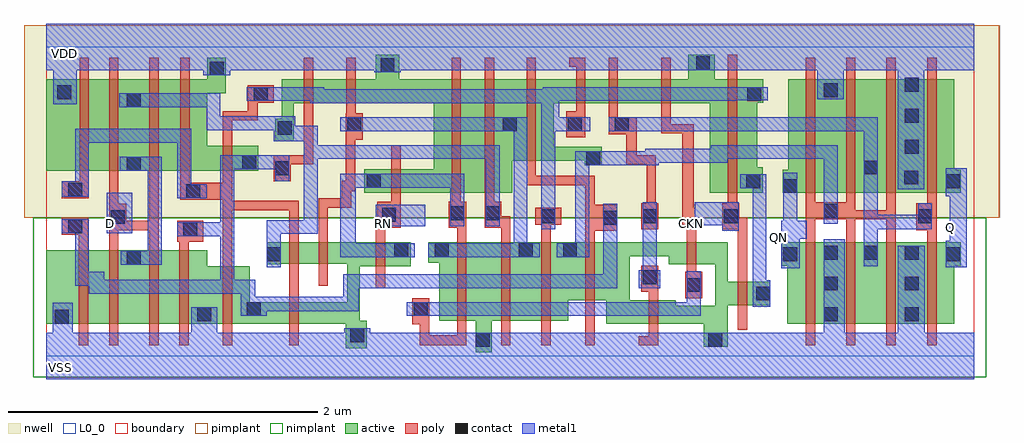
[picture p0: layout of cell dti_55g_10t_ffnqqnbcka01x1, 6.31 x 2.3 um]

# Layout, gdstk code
from math import pi, radians
import gdstk
lib = gdstk.Library(unit=1e-6, precision=1e-09)
def R(c, l, rs):  # rectangles x0, y0, x1, y1
    for r in rs: c.add(gdstk.rectangle(r[:2], r[2:], *l))
def A(c, l, x, y, w, h, nx, ny, dx, dy):  # array of equal rectangles
    R(c, l, [(x+i*dx, y+j*dy, x+i*dx+w, y+j*dy+h) for i in range(nx) for j in range(ny)])
def P(c, l, *ps):  # polygons
    for p in ps: c.add(gdstk.Polygon(p, *l))
L0_0 = (0, 0)
nwell = (3, 0)
active = (6, 0)
poly = (17, 0)
pimplant = (25, 0)
nimplant = (26, 0)
contact = (30, 0)
metal1 = (31, 0)
boundary = (108, 0)
L923_0 = (923, 0)

cnt = lib.new_cell('cnt')
R(cnt, contact, [(-0.045,-0.045,0.045,0.045)])
R(cnt, metal1, [(-0.045,-0.045,0.045,0.045)])

cellgrid_nom2 = lib.new_cell('cellgrid_noM2')
R(cellgrid_nom2, L0_0, [(0,0,0.2,0.2)])
cellgrid_nom2.add(gdstk.FlexPath([(0.2,0),(0,0.2)], 0, ends="flush", simple_path=True, layer=0, datatype=0))  # L0_0
cellgrid_nom2.add(gdstk.FlexPath([(0.2,0.2),(0,0)], 0, ends="flush", simple_path=True, layer=0, datatype=0))  # L0_0

pcnt_v = lib.new_cell('pcnt_v')
R(pcnt_v, poly, [(-0.055,-0.085,0.055,0.085)])
P(pcnt_v, poly, [(0.005,0.04),(0.005,0.04),(0.005,0.04),(0.005,0.04)])
pcnt_v.add(gdstk.Reference(cnt, (0,0)))

dti_55g_10t_ffnqqnbcka01 = lib.new_cell('dti_55g_10t_ffnqqnbcka01x1')
R(dti_55g_10t_ffnqqnbcka01, nwell, [(-2.2,1.015,4.11,2.26)])
R(dti_55g_10t_ffnqqnbcka01, active, [(1.32,0.48,1.565,0.56), (2.7,0.705,2.825,0.855), (2.705,1.175,2.825,1.325), (2.74,1.175,3.815,1.91), (3.735,1.175,3.855,1.325), (2.455,1.19,2.575,1.34), (1.425,1.355,1.535,1.475), (-0.575,1.51,-0.455,1.655), (0.86,1.545,1.01,1.665), (0.075,1.91,0.225,2.07)])
P(dti_55g_10t_ffnqqnbcka01, active, [(-0.12,0.17),(-0.12,0.33),(-2.055,0.33),(-2.055,0.805),(-1.015,0.805),(-1.015,0.7),(-0.74,0.7),(-0.74,0.47),(-0.11,0.47),(-0.11,0.715),(-0.545,0.715),(-0.545,0.715),(-0.63,0.715),(-0.63,0.855),(0.3,0.855),(0.3,0.7),(-0.03,0.7),(-0.03,0.35),(0.015,0.35),(0.015,0.17)],
  [(0,1.175),(0,1.33),(0.45,1.33),(0.45,1.332),(0.955,1.332),(0.955,1.175)],
  [(2.235,1.175),(2.235,1.755),(1.225,1.755),(1.225,1.475),(1.535,1.475),(1.535,1.385),(1.37,1.385),(1.37,1.385),(0.955,1.385),(0.955,1.307),(0.45,1.307),(0.45,1.755),(-0.455,1.755),(-0.455,1.63),(-0.535,1.63),(-0.535,1.91),(0.075,1.91),(0.075,1.95),(0.225,1.95),(0.225,1.91),(2.095,1.91),(2.095,2.07),(2.265,2.07),(2.265,1.91),(2.58,1.91),(2.58,1.76),(2.54,1.76),(2.54,1.195),(2.575,1.195),(2.575,1.175)],
  [(0.72,0.145),(0.72,0.35),(0.485,0.35),(0.485,0.725),(0.415,0.725),(0.415,0.765),(1.715,0.765),(1.715,0.48),(2.015,0.48),(2.015,0.445),(2.27,0.445),(2.27,0.715),(1.97,0.715),(1.97,0.765),(0.415,0.765),(0.415,0.855),(2.35,0.855),(2.35,0.6),(2.625,0.6),(2.625,0.45),(2.35,0.45),(2.35,0.18),(2.195,0.18),(2.195,0.33),(1.565,0.33),(1.565,0.56),(1.32,0.56),(1.32,0.35),(0.825,0.35),(0.825,0.145)],
  [(-2.055,1.32),(-2.055,1.91),(-1.015,1.91),(-1.015,2.05),(-0.895,2.05),(-0.895,1.82),(-1.015,1.82),(-1.015,1.48),(-0.685,1.48),(-0.685,1.32)],
  [(2.735,0.33),(2.735,0.855),(3.855,0.855),(3.855,0.705),(3.815,0.705),(3.815,0.33)],
  [(-1.915,0.405),(-1.915,0.405),(-1.915,0.405),(-1.915,0.405)])
A(dti_55g_10t_ffnqqnbcka01, poly, 2.855, 1.025, 0.06, 1.025, 3, 1, 0.26, 0)
R(dti_55g_10t_ffnqqnbcka01, poly, [(-1.845,0.19,-1.785,1.005), (-1.65,0.19,-1.59,1.005), (-1.39,0.19,-1.33,1.005), (-0.915,0.19,-0.855,0.67), (-0.485,0.19,-0.425,0.6), (0.885,0.19,0.945,1.025), (1.145,0.19,1.205,1.025), (1.43,0.19,1.49,0.4), (1.775,0.19,1.885,0.25), (1.84,0.19,1.9,0.6), (2.855,0.19,2.915,1.03), (3.115,0.19,3.175,1.025), (3.375,0.19,3.435,1.03), (3.64,0.19,3.7,1.03), (2.415,0.29,2.475,0.725), (0.31,0.325,0.42,0.495), (1.43,0.4,1.49,1), (2.075,0.495,2.185,0.665), (1.79,0.535,1.9,0.705), (0.075,0.56,0.135,0.995), (-0.485,0.575,-0.425,0.985), (-0.295,0.575,-0.235,0.985), (2.415,0.71,2.475,1.015), (-1.955,0.905,-1.785,1.015), (1.47,0.93,1.635,1.1), (-1.65,0.935,-1.54,1.105), (-1.575,0.935,-1.33,0.995), (3.57,0.935,3.68,1.11), (1.79,0.94,1.9,1.11), (2.315,0.94,2.425,1.11), (0.085,0.95,0.235,1.12), (0.105,0.95,0.215,1.12), (0.78,0.95,0.945,1.025), (0.78,0.95,0.885,1.12), (-1.39,0.965,-1.33,1.175), (-0.485,0.97,-0.425,1.125), (1.43,0.995,1.49,1.24), (2.91,1.005,2.95,1.115), (2.93,1.005,3.1,1.115), (3.09,1.005,3.13,1.115), (3.16,1.005,3.4,1.065), (2.35,1.025,2.41,1.46), (3.64,1.025,3.7,2.05), (0.565,1.03,0.625,1.465), (0.78,1.03,0.84,1.465), (0.175,1.065,0.235,1.485), (1.825,1.085,1.885,1.42), (-1.65,1.09,-1.59,1.17), (-1.955,1.14,-1.78,1.25), (-1.84,1.15,-1.78,2.05), (-1.65,1.15,-1.59,2.05), (-1.39,1.15,-1.33,2.05), (-1.19,1.15,-1.13,2.05), (0.565,1.155,0.625,2.05), (0.78,1.155,0.84,2.05), (2.35,1.155,2.41,2.07), (1.695,1.36,1.76,1.665), (1.695,1.36,1.76,1.665), (1.73,1.36,1.86,1.42), (-0.12,1.52,-0.01,1.69), (1.305,1.535,1.415,1.705), (1.4,1.535,1.43,1.635), (1.58,1.555,1.75,1.665), (1.92,1.56,2.095,1.62), (-0.915,1.575,-0.855,1.705), (-0.39,1.605,-0.33,2.05), (-0.115,1.605,-0.055,2.05), (1.37,1.605,1.43,2.05), (1.58,1.605,1.64,2.05), (1.92,1.605,1.98,2.05), (-0.915,1.645,-0.695,1.705), (-0.755,1.645,-0.69,1.795), (-0.755,1.76,-0.585,1.87), (1.325,1.99,1.38,2.05)])
P(dti_55g_10t_ffnqqnbcka01, poly, [(-0.915,0.35),(-0.915,0.79),(-0.915,0.79),(-0.915,1.13),(-1.19,1.13),(-1.19,1.24),(-0.915,1.24),(-0.915,1.585),(-0.855,1.585),(-0.855,1.125),(-0.435,1.125),(-0.435,1.065),(-0.855,1.065),(-0.855,0.35)],
  [(1.05,1.225),(1.05,2.05),(1.11,2.05),(1.11,1.285),(1.49,1.285),(1.49,1.225),(1.11,1.225)],
  [(0.6,0.19),(0.6,0.95),(0.545,0.95),(0.545,1.12),(0.66,1.12),(0.66,0.19)],
  [(-1.195,0.19),(-1.195,0.86),(-1.21,0.86),(-1.21,0.995),(-1.04,0.995),(-1.04,0.86),(-1.135,0.86),(-1.135,0.19)],
  [(0.36,0.19),(0.36,0.325),(0.42,0.325),(0.42,0.255),(0.61,0.255),(0.61,0.19)],
  [(-0.295,0.95),(-0.295,1.14),(-0.145,1.14),(-0.145,1.255),(-0.12,1.255),(-0.12,1.52),(-0.06,1.52),(-0.06,1.185),(-0.085,1.185),(-0.085,1.08),(-0.235,1.08),(-0.235,0.95)],
  [(-0.585,1.25),(-0.585,1.42),(-0.39,1.42),(-0.39,1.63),(-0.33,1.63),(-0.33,1.36),(-0.475,1.36),(-0.475,1.25)],
  [(2.085,0.575),(2.085,0.97),(2.055,0.97),(2.055,1.62),(2.13,1.62),(2.13,1.075),(2.14,1.075),(2.14,1),(2.145,1),(2.145,0.575)],
  [(1.365,1.66),(1.365,1.66),(1.365,1.66),(1.365,1.66)],
  [(1.625,1.615),(1.625,1.615),(1.625,1.615),(1.625,1.615)],
  [(-1.91,1.2),(-1.91,1.2),(-1.91,1.2),(-1.91,1.2)],
  [(-1.145,1.19),(-1.145,1.19),(-1.145,1.19),(-1.145,1.19)],
  [(-0.71,1.83),(-0.71,1.83),(-0.71,1.83),(-0.71,1.83)],
  [(-0.06,1.645),(-0.06,1.645),(-0.06,1.645),(-0.06,1.645)],
  [(-1.83,0.94),(-1.83,0.94),(-1.83,0.94),(-1.83,0.94)],
  [(-1.91,0.965),(-1.91,0.965),(-1.91,0.965),(-1.91,0.965)],
  [(0.165,1.075),(0.165,1.075),(0.165,1.075),(0.165,1.075)],
  [(0.38,0.44),(0.38,0.44),(0.38,0.44),(0.38,0.44)],
  [(0.615,1.075),(0.615,1.075),(0.615,1.075),(0.615,1.075)],
  [(0.835,1.075),(0.835,1.075),(0.835,1.075),(0.835,1.075)],
  [(1.15,1.03),(1.15,1.03),(1.15,1.03),(1.15,1.03)],
  [(1.54,1.055),(1.54,1.055),(1.54,1.055),(1.54,1.055)],
  [(1.84,0.66),(1.84,0.66),(1.84,0.66),(1.84,0.66)],
  [(1.835,1.065),(1.835,1.065),(1.835,1.065),(1.835,1.065)],
  [(2.375,1.065),(2.375,1.065),(2.375,1.065),(2.375,1.065)],
  [(2.975,1.065),(2.975,1.065),(2.975,1.065),(2.975,1.065)],
  [(3.63,1.06),(3.63,1.06),(3.63,1.06),(3.63,1.06)],
  [(2.07,0.62),(2.07,0.62),(2.07,0.62),(2.07,0.62)])
R(dti_55g_10t_ffnqqnbcka01, pimplant, [(-2.2,1.015,4.105,2.26)])
R(dti_55g_10t_ffnqqnbcka01, nimplant, [(-2.14,-0.015,4.02,1.015), (2.17,0.295,2.72,0.73), (-1.18,0.33,-0.63,0.865), (-0.74,0.555,-0.19,0.99), (-0.55,0.555,0,0.99), (-0.16,0.555,0.39,0.99), (1.84,0.555,2.39,0.99), (1.19,0.57,1.74,1.005)])
A(dti_55g_10t_ffnqqnbcka01, contact, 2.97, 0.345, 0.09, 0.09, 1, 3, 0, 0.2)
A(dti_55g_10t_ffnqqnbcka01, contact, 3.495, 0.345, 0.09, 0.09, 1, 3, 0, 0.2)
A(dti_55g_10t_ffnqqnbcka01, contact, 3.495, 1.43, 0.09, 0.09, 1, 3, 0, 0.2)
R(dti_55g_10t_ffnqqnbcka01, contact, [(0.72,0.18,0.81,0.27), (2.225,0.18,2.315,0.27), (-0.09,0.21,0,0.3), (-2,0.33,-1.91,0.42), (-1.08,0.345,-0.99,0.435), (-0.76,0.38,-0.67,0.47), (2.535,0.48,2.625,0.57), (-1.535,0.71,-1.445,0.8), (-0.63,0.735,-0.54,0.825), (2.71,0.735,2.8,0.825), (3.76,0.735,3.85,0.825), (3.23,0.745,3.32,0.835), (0.195,0.76,0.285,0.85), (0.455,0.76,0.545,0.85), (1,0.76,1.09,0.85), (1.285,0.76,1.375,0.85), (-1.17,0.895,-1.08,0.985), (-1.915,0.915,-1.825,1.005), (2.71,1.175,2.8,1.265), (2.47,1.205,2.56,1.295), (3.76,1.205,3.85,1.295), (0.015,1.21,0.105,1.3), (3.49,1.23,3.58,1.32), (3.23,1.295,3.32,1.385), (-1.535,1.32,-1.445,1.41), (-0.79,1.33,-0.7,1.42), (1.435,1.355,1.525,1.445), (-0.56,1.55,-0.47,1.64), (0.895,1.575,0.985,1.665), (-1.535,1.73,-1.445,1.82), (2.475,1.77,2.565,1.86), (-1.985,1.78,-1.895,1.87), (2.97,1.795,3.06,1.885), (-1,1.935,-0.91,2.025), (0.105,1.955,0.195,2.045), (2.145,1.97,2.235,2.06)])
A(dti_55g_10t_ffnqqnbcka01, metal1, -2.055, -0.03, 0.2, 0.3, 30, 2, 0.2, 2)
R(dti_55g_10t_ffnqqnbcka01, metal1, [(-1.12,0.11,-0.95,0.435), (0.68,0.11,0.86,0.27), (2.97,0.11,3.105,0.875), (3.45,0.11,3.625,0.835), (-2.015,0.115,-1.885,0.465), (-0.13,0.115,0.04,0.3), (-0.09,0.21,0,0.3), (2.97,0.375,3.06,0.465), (3.495,0.375,3.585,0.465), (2.535,0.48,2.625,0.57), (1.775,0.56,1.915,0.675), (1.8,0.675,1.89,1.115), (-0.63,0.735,-0.56,0.825), (3.76,0.735,3.84,0.825), (2.97,0.745,3.06,0.835), (3.23,0.745,3.32,0.835), (3.495,0.745,3.585,0.835), (1,0.76,1.09,0.83), (1.275,0.76,1.365,0.835), (-1.17,0.895,-1.08,0.985), (-1.915,0.915,-1.825,1.005), (-1.665,0.915,-1.5,1.175), (0.075,0.96,0.395,1.1), (3.45,1.2,3.62,2.11), (3.49,1.2,3.58,1.29), (3.76,1.205,3.84,1.295), (0.015,1.21,0.105,1.3), (3.23,1.295,3.32,1.385), (-1.53,1.32,-1.44,1.41), (-0.79,1.33,-0.7,1.42), (3.495,1.395,3.585,1.485), (-0.56,1.535,-0.47,1.625), (3.495,1.59,3.585,1.68), (-2.01,1.75,-1.86,2.105), (-1.99,1.78,-1.9,1.87), (2.93,1.78,3.1,2.105), (2.97,1.795,3.06,1.885), (3.495,1.8,3.585,1.89), (-1.04,1.935,-0.865,2.105), (-1,1.935,-0.91,1.995), (0.065,1.955,0.235,2.11), (2.1,1.97,2.285,2.11), (2.145,1.97,2.235,2.045)])
P(dti_55g_10t_ffnqqnbcka01, metal1, [(-0.63,0.695),(-0.63,1),(-0.39,1),(-0.39,1.51),(-0.585,1.51),(-0.585,1.58),(-1.02,1.58),(-1.02,1.73),(-1.585,1.73),(-1.585,1.82),(-0.93,1.82),(-0.93,1.67),(-0.445,1.67),(-0.445,1.61),(-0.3,1.61),(-0.3,1.485),(0.875,1.485),(0.875,0.96),(0.785,0.96),(0.785,1.395),(-0.3,1.395),(-0.3,0.91),(-0.54,0.91),(-0.54,0.695)],
  [(1.145,0.94),(1.145,1.755),(-0.35,1.755),(-0.35,1.77),(-0.76,1.77),(-0.76,1.86),(-0.26,1.86),(-0.26,1.845),(1.155,1.845),(1.155,1.86),(2.3,1.86),(2.3,1.86),(2.61,1.86),(2.61,1.77),(2.4,1.77),(2.4,1.77),(1.26,1.77),(1.26,1.665),(1.46,1.665),(1.46,1.575),(1.235,1.575),(1.235,0.94)],
  [(-0.155,0.76),(-0.155,1.3),(0.645,1.3),(0.645,0.96),(0.555,0.96),(0.555,1.21),(-0.055,1.21),(-0.055,0.85),(0.325,0.85),(0.325,0.76)],
  [(0.415,0.76),(0.415,0.85),(0.965,0.85),(0.965,1.575),(-0.155,1.575),(-0.155,1.665),(1.055,1.665),(1.055,0.85),(1.135,0.85),(1.135,0.76)],
  [(-1.575,0.71),(-1.575,0.8),(-1.4,0.8),(-1.4,1.32),(-1.58,1.32),(-1.58,1.41),(-1.31,1.41),(-1.31,0.71)],
  [(1.245,0.76),(1.245,0.85),(1.365,0.85),(1.365,1.445),(1.815,1.445),(1.815,1.46),(2.24,1.46),(2.24,1.485),(3.06,1.485),(3.06,0.975),(2.97,0.975),(2.97,1.395),(2.35,1.395),(2.35,1.37),(1.905,1.37),(1.905,1.355),(1.455,1.355),(1.455,0.76)],
  [(-0.8,0.38),(-0.8,0.525),(-1.78,0.525),(-1.78,0.575),(-1.87,0.575),(-1.87,0.915),(-1.955,0.915),(-1.955,1.005),(-1.78,1.005),(-1.78,0.665),(-1.68,0.665),(-1.68,0.615),(-0.93,0.615),(-0.93,0.895),(-1.21,0.895),(-1.21,0.985),(-0.93,0.985),(-0.93,1.42),(-0.485,1.42),(-0.485,1.25),(-0.575,1.25),(-0.575,1.33),(-0.84,1.33),(-0.84,0.615),(-0.705,0.615),(-0.705,0.505),(-0.135,0.505),(-0.135,0.65),(1.545,0.65),(1.545,1.105),(1.635,1.105),(1.635,0.56),(1.465,0.56),(-0.035,0.56),(-0.035,0.41),(-0.63,0.41),(-0.63,0.38)],
  [(0.275,0.38),(0.275,0.47),(2.085,0.47),(2.085,0.67),(2.175,0.67),(2.175,0.38)],
  [(2.51,0.44),(2.51,1.205),(2.43,1.205),(2.43,1.295),(2.6,1.295),(2.6,0.61),(2.625,0.61),(2.625,0.44)],
  [(3.23,0.7),(3.23,1.575),(1.58,1.575),(1.58,1.665),(3.32,1.665),(3.32,1.035),(3.58,1.035),(3.58,1.11),(3.67,1.11),(3.67,0.94),(3.32,0.94),(3.32,0.7)],
  [(3.76,0.695),(3.76,0.865),(3.785,0.865),(3.785,1.155),(3.76,1.155),(3.76,1.335),(3.895,1.335),(3.895,0.695)],
  [(2.315,0.93),(2.315,0.965),(2.135,0.965),(2.135,1.115),(2.42,1.115),(2.42,0.93)],
  [(2.695,0.69),(2.695,0.88),(2.695,0.88),(2.695,0.995),(2.71,0.995),(2.71,1.305),(2.8,1.305),(2.8,0.995),(2.86,0.995),(2.86,0.88),(2.815,0.88),(2.815,0.69)],
  [(-1.21,1.14),(-1.21,1.5),(-1.78,1.5),(-1.78,1.15),(-1.955,1.15),(-1.955,1.25),(-1.87,1.25),(-1.87,1.59),(-1.12,1.59),(-1.12,1.23),(-1.02,1.23),(-1.02,1.14)])
R(dti_55g_10t_ffnqqnbcka01, boundary, [(-2.055,-0.02,3.945,2.27)])
dti_55g_10t_ffnqqnbcka01.add(gdstk.FlexPath([(1.145,1.175),(0.945,1.175)], 0, ends="flush", simple_path=True, layer=923, datatype=0))  # L923_0
dti_55g_10t_ffnqqnbcka01.add(gdstk.FlexPath([(1.145,1.91),(0.945,1.91)], 0, ends="flush", simple_path=True, layer=923, datatype=0))  # L923_0
dti_55g_10t_ffnqqnbcka01.add(gdstk.FlexPath([(1.345,1.175),(1.145,1.175)], 0, ends="flush", simple_path=True, layer=923, datatype=0))  # L923_0
dti_55g_10t_ffnqqnbcka01.add(gdstk.FlexPath([(1.345,1.91),(1.145,1.91)], 0, ends="flush", simple_path=True, layer=923, datatype=0))  # L923_0
dti_55g_10t_ffnqqnbcka01.add(gdstk.FlexPath([(1.545,1.175),(1.345,1.175)], 0, ends="flush", simple_path=True, layer=923, datatype=0))  # L923_0
dti_55g_10t_ffnqqnbcka01.add(gdstk.FlexPath([(1.545,1.91),(1.345,1.91)], 0, ends="flush", simple_path=True, layer=923, datatype=0))  # L923_0
dti_55g_10t_ffnqqnbcka01.add(gdstk.FlexPath([(1.745,1.175),(1.545,1.175)], 0, ends="flush", simple_path=True, layer=923, datatype=0))  # L923_0
dti_55g_10t_ffnqqnbcka01.add(gdstk.FlexPath([(1.745,1.91),(1.545,1.91)], 0, ends="flush", simple_path=True, layer=923, datatype=0))  # L923_0
dti_55g_10t_ffnqqnbcka01.add(gdstk.FlexPath([(1.945,1.175),(1.745,1.175)], 0, ends="flush", simple_path=True, layer=923, datatype=0))  # L923_0
dti_55g_10t_ffnqqnbcka01.add(gdstk.FlexPath([(1.945,1.91),(1.745,1.91)], 0, ends="flush", simple_path=True, layer=923, datatype=0))  # L923_0
dti_55g_10t_ffnqqnbcka01.add(gdstk.FlexPath([(2.145,1.175),(1.945,1.175)], 0, ends="flush", simple_path=True, layer=923, datatype=0))  # L923_0
dti_55g_10t_ffnqqnbcka01.add(gdstk.FlexPath([(2.145,1.91),(1.945,1.91)], 0, ends="flush", simple_path=True, layer=923, datatype=0))  # L923_0
dti_55g_10t_ffnqqnbcka01.add(gdstk.FlexPath([(2.345,1.175),(2.145,1.175)], 0, ends="flush", simple_path=True, layer=923, datatype=0))  # L923_0
dti_55g_10t_ffnqqnbcka01.add(gdstk.FlexPath([(2.345,1.91),(2.145,1.91)], 0, ends="flush", simple_path=True, layer=923, datatype=0))  # L923_0
dti_55g_10t_ffnqqnbcka01.add(gdstk.FlexPath([(2.545,1.175),(2.345,1.175)], 0, ends="flush", simple_path=True, layer=923, datatype=0))  # L923_0
dti_55g_10t_ffnqqnbcka01.add(gdstk.FlexPath([(2.545,1.91),(2.345,1.91)], 0, ends="flush", simple_path=True, layer=923, datatype=0))  # L923_0
dti_55g_10t_ffnqqnbcka01.add(gdstk.FlexPath([(2.745,1.175),(2.545,1.175)], 0, ends="flush", simple_path=True, layer=923, datatype=0))  # L923_0
dti_55g_10t_ffnqqnbcka01.add(gdstk.FlexPath([(2.745,1.91),(2.545,1.91)], 0, ends="flush", simple_path=True, layer=923, datatype=0))  # L923_0
dti_55g_10t_ffnqqnbcka01.add(gdstk.FlexPath([(2.945,1.175),(2.745,1.175)], 0, ends="flush", simple_path=True, layer=923, datatype=0))  # L923_0
dti_55g_10t_ffnqqnbcka01.add(gdstk.FlexPath([(2.945,1.91),(2.745,1.91)], 0, ends="flush", simple_path=True, layer=923, datatype=0))  # L923_0
dti_55g_10t_ffnqqnbcka01.add(gdstk.FlexPath([(3.145,1.175),(2.945,1.175)], 0, ends="flush", simple_path=True, layer=923, datatype=0))  # L923_0
dti_55g_10t_ffnqqnbcka01.add(gdstk.FlexPath([(3.145,1.91),(2.945,1.91)], 0, ends="flush", simple_path=True, layer=923, datatype=0))  # L923_0
dti_55g_10t_ffnqqnbcka01.add(gdstk.FlexPath([(3.345,1.175),(3.145,1.175)], 0, ends="flush", simple_path=True, layer=923, datatype=0))  # L923_0
dti_55g_10t_ffnqqnbcka01.add(gdstk.FlexPath([(3.345,1.91),(3.145,1.91)], 0, ends="flush", simple_path=True, layer=923, datatype=0))  # L923_0
dti_55g_10t_ffnqqnbcka01.add(gdstk.FlexPath([(3.545,1.175),(3.345,1.175)], 0, ends="flush", simple_path=True, layer=923, datatype=0))  # L923_0
dti_55g_10t_ffnqqnbcka01.add(gdstk.FlexPath([(3.545,1.91),(3.345,1.91)], 0, ends="flush", simple_path=True, layer=923, datatype=0))  # L923_0
dti_55g_10t_ffnqqnbcka01.add(gdstk.FlexPath([(3.745,1.175),(3.545,1.175)], 0, ends="flush", simple_path=True, layer=923, datatype=0))  # L923_0
dti_55g_10t_ffnqqnbcka01.add(gdstk.FlexPath([(3.745,1.91),(3.545,1.91)], 0, ends="flush", simple_path=True, layer=923, datatype=0))  # L923_0
dti_55g_10t_ffnqqnbcka01.add(gdstk.FlexPath([(3.945,1.175),(3.745,1.175)], 0, ends="flush", simple_path=True, layer=923, datatype=0))  # L923_0
dti_55g_10t_ffnqqnbcka01.add(gdstk.FlexPath([(3.945,1.91),(3.745,1.91)], 0, ends="flush", simple_path=True, layer=923, datatype=0))  # L923_0
dti_55g_10t_ffnqqnbcka01.add(gdstk.FlexPath([(-1.855,1.175),(-2.055,1.175)], 0, ends="flush", simple_path=True, layer=923, datatype=0))  # L923_0
dti_55g_10t_ffnqqnbcka01.add(gdstk.FlexPath([(-1.855,1.91),(-2.055,1.91)], 0, ends="flush", simple_path=True, layer=923, datatype=0))  # L923_0
dti_55g_10t_ffnqqnbcka01.add(gdstk.FlexPath([(-1.655,1.175),(-1.855,1.175)], 0, ends="flush", simple_path=True, layer=923, datatype=0))  # L923_0
dti_55g_10t_ffnqqnbcka01.add(gdstk.FlexPath([(-1.655,1.91),(-1.855,1.91)], 0, ends="flush", simple_path=True, layer=923, datatype=0))  # L923_0
dti_55g_10t_ffnqqnbcka01.add(gdstk.FlexPath([(-1.455,1.175),(-1.655,1.175)], 0, ends="flush", simple_path=True, layer=923, datatype=0))  # L923_0
dti_55g_10t_ffnqqnbcka01.add(gdstk.FlexPath([(-1.455,1.91),(-1.655,1.91)], 0, ends="flush", simple_path=True, layer=923, datatype=0))  # L923_0
dti_55g_10t_ffnqqnbcka01.add(gdstk.FlexPath([(-1.255,1.175),(-1.455,1.175)], 0, ends="flush", simple_path=True, layer=923, datatype=0))  # L923_0
dti_55g_10t_ffnqqnbcka01.add(gdstk.FlexPath([(-1.255,1.91),(-1.455,1.91)], 0, ends="flush", simple_path=True, layer=923, datatype=0))  # L923_0
dti_55g_10t_ffnqqnbcka01.add(gdstk.FlexPath([(-1.055,1.175),(-1.255,1.175)], 0, ends="flush", simple_path=True, layer=923, datatype=0))  # L923_0
dti_55g_10t_ffnqqnbcka01.add(gdstk.FlexPath([(-1.055,1.91),(-1.255,1.91)], 0, ends="flush", simple_path=True, layer=923, datatype=0))  # L923_0
dti_55g_10t_ffnqqnbcka01.add(gdstk.FlexPath([(-0.855,1.175),(-1.055,1.175)], 0, ends="flush", simple_path=True, layer=923, datatype=0))  # L923_0
dti_55g_10t_ffnqqnbcka01.add(gdstk.FlexPath([(-0.855,1.91),(-1.055,1.91)], 0, ends="flush", simple_path=True, layer=923, datatype=0))  # L923_0
dti_55g_10t_ffnqqnbcka01.add(gdstk.FlexPath([(-0.655,1.175),(-0.855,1.175)], 0, ends="flush", simple_path=True, layer=923, datatype=0))  # L923_0
dti_55g_10t_ffnqqnbcka01.add(gdstk.FlexPath([(-0.655,1.91),(-0.855,1.91)], 0, ends="flush", simple_path=True, layer=923, datatype=0))  # L923_0
dti_55g_10t_ffnqqnbcka01.add(gdstk.FlexPath([(-0.455,1.175),(-0.655,1.175)], 0, ends="flush", simple_path=True, layer=923, datatype=0))  # L923_0
dti_55g_10t_ffnqqnbcka01.add(gdstk.FlexPath([(-0.455,1.91),(-0.655,1.91)], 0, ends="flush", simple_path=True, layer=923, datatype=0))  # L923_0
dti_55g_10t_ffnqqnbcka01.add(gdstk.FlexPath([(-0.255,1.175),(-0.455,1.175)], 0, ends="flush", simple_path=True, layer=923, datatype=0))  # L923_0
dti_55g_10t_ffnqqnbcka01.add(gdstk.FlexPath([(-0.255,1.91),(-0.455,1.91)], 0, ends="flush", simple_path=True, layer=923, datatype=0))  # L923_0
dti_55g_10t_ffnqqnbcka01.add(gdstk.FlexPath([(-0.055,1.175),(-0.255,1.175)], 0, ends="flush", simple_path=True, layer=923, datatype=0))  # L923_0
dti_55g_10t_ffnqqnbcka01.add(gdstk.FlexPath([(-0.055,1.91),(-0.255,1.91)], 0, ends="flush", simple_path=True, layer=923, datatype=0))  # L923_0
dti_55g_10t_ffnqqnbcka01.add(gdstk.FlexPath([(0.145,1.175),(-0.055,1.175)], 0, ends="flush", simple_path=True, layer=923, datatype=0))  # L923_0
dti_55g_10t_ffnqqnbcka01.add(gdstk.FlexPath([(0.145,1.91),(-0.055,1.91)], 0, ends="flush", simple_path=True, layer=923, datatype=0))  # L923_0
dti_55g_10t_ffnqqnbcka01.add(gdstk.FlexPath([(0.345,1.175),(0.145,1.175)], 0, ends="flush", simple_path=True, layer=923, datatype=0))  # L923_0
dti_55g_10t_ffnqqnbcka01.add(gdstk.FlexPath([(0.345,1.91),(0.145,1.91)], 0, ends="flush", simple_path=True, layer=923, datatype=0))  # L923_0
dti_55g_10t_ffnqqnbcka01.add(gdstk.FlexPath([(0.545,1.175),(0.345,1.175)], 0, ends="flush", simple_path=True, layer=923, datatype=0))  # L923_0
dti_55g_10t_ffnqqnbcka01.add(gdstk.FlexPath([(0.545,1.91),(0.345,1.91)], 0, ends="flush", simple_path=True, layer=923, datatype=0))  # L923_0
dti_55g_10t_ffnqqnbcka01.add(gdstk.FlexPath([(0.745,1.175),(0.545,1.175)], 0, ends="flush", simple_path=True, layer=923, datatype=0))  # L923_0
dti_55g_10t_ffnqqnbcka01.add(gdstk.FlexPath([(0.745,1.91),(0.545,1.91)], 0, ends="flush", simple_path=True, layer=923, datatype=0))  # L923_0
dti_55g_10t_ffnqqnbcka01.add(gdstk.FlexPath([(0.945,1.175),(0.745,1.175)], 0, ends="flush", simple_path=True, layer=923, datatype=0))  # L923_0
dti_55g_10t_ffnqqnbcka01.add(gdstk.FlexPath([(0.945,1.91),(0.745,1.91)], 0, ends="flush", simple_path=True, layer=923, datatype=0))  # L923_0
dti_55g_10t_ffnqqnbcka01.add(gdstk.FlexPath([(0.545,0.33),(0.345,0.33)], 0, ends="flush", simple_path=True, layer=923, datatype=0))  # L923_0
dti_55g_10t_ffnqqnbcka01.add(gdstk.FlexPath([(0.545,0.855),(0.345,0.855)], 0, ends="flush", simple_path=True, layer=923, datatype=0))  # L923_0
dti_55g_10t_ffnqqnbcka01.add(gdstk.FlexPath([(0.545,1.015),(0.345,1.015)], 0, ends="flush", simple_path=True, layer=923, datatype=0))  # L923_0
dti_55g_10t_ffnqqnbcka01.add(gdstk.FlexPath([(-1.855,0.33),(-2.055,0.33)], 0, ends="flush", simple_path=True, layer=923, datatype=0))  # L923_0
dti_55g_10t_ffnqqnbcka01.add(gdstk.FlexPath([(-0.855,0.33),(-1.055,0.33)], 0, ends="flush", simple_path=True, layer=923, datatype=0))  # L923_0
dti_55g_10t_ffnqqnbcka01.add(gdstk.FlexPath([(0.745,0.33),(0.545,0.33)], 0, ends="flush", simple_path=True, layer=923, datatype=0))  # L923_0
dti_55g_10t_ffnqqnbcka01.add(gdstk.FlexPath([(0.745,0.855),(0.545,0.855)], 0, ends="flush", simple_path=True, layer=923, datatype=0))  # L923_0
dti_55g_10t_ffnqqnbcka01.add(gdstk.FlexPath([(0.745,1.015),(0.545,1.015)], 0, ends="flush", simple_path=True, layer=923, datatype=0))  # L923_0
dti_55g_10t_ffnqqnbcka01.add(gdstk.FlexPath([(-0.855,0.855),(-1.055,0.855)], 0, ends="flush", simple_path=True, layer=923, datatype=0))  # L923_0
dti_55g_10t_ffnqqnbcka01.add(gdstk.FlexPath([(-0.855,1.015),(-1.055,1.015)], 0, ends="flush", simple_path=True, layer=923, datatype=0))  # L923_0
dti_55g_10t_ffnqqnbcka01.add(gdstk.FlexPath([(0.945,0.33),(0.745,0.33)], 0, ends="flush", simple_path=True, layer=923, datatype=0))  # L923_0
dti_55g_10t_ffnqqnbcka01.add(gdstk.FlexPath([(0.945,0.855),(0.745,0.855)], 0, ends="flush", simple_path=True, layer=923, datatype=0))  # L923_0
dti_55g_10t_ffnqqnbcka01.add(gdstk.FlexPath([(0.945,1.015),(0.745,1.015)], 0, ends="flush", simple_path=True, layer=923, datatype=0))  # L923_0
dti_55g_10t_ffnqqnbcka01.add(gdstk.FlexPath([(-1.455,0.33),(-1.655,0.33)], 0, ends="flush", simple_path=True, layer=923, datatype=0))  # L923_0
dti_55g_10t_ffnqqnbcka01.add(gdstk.FlexPath([(-1.455,0.855),(-1.655,0.855)], 0, ends="flush", simple_path=True, layer=923, datatype=0))  # L923_0
dti_55g_10t_ffnqqnbcka01.add(gdstk.FlexPath([(-0.655,0.33),(-0.855,0.33)], 0, ends="flush", simple_path=True, layer=923, datatype=0))  # L923_0
dti_55g_10t_ffnqqnbcka01.add(gdstk.FlexPath([(-0.655,0.855),(-0.855,0.855)], 0, ends="flush", simple_path=True, layer=923, datatype=0))  # L923_0
dti_55g_10t_ffnqqnbcka01.add(gdstk.FlexPath([(-0.655,1.015),(-0.855,1.015)], 0, ends="flush", simple_path=True, layer=923, datatype=0))  # L923_0
dti_55g_10t_ffnqqnbcka01.add(gdstk.FlexPath([(-1.455,1.015),(-1.655,1.015)], 0, ends="flush", simple_path=True, layer=923, datatype=0))  # L923_0
dti_55g_10t_ffnqqnbcka01.add(gdstk.FlexPath([(-1.855,0.855),(-2.055,0.855)], 0, ends="flush", simple_path=True, layer=923, datatype=0))  # L923_0
dti_55g_10t_ffnqqnbcka01.add(gdstk.FlexPath([(-0.455,0.33),(-0.655,0.33)], 0, ends="flush", simple_path=True, layer=923, datatype=0))  # L923_0
dti_55g_10t_ffnqqnbcka01.add(gdstk.FlexPath([(-0.455,0.855),(-0.655,0.855)], 0, ends="flush", simple_path=True, layer=923, datatype=0))  # L923_0
dti_55g_10t_ffnqqnbcka01.add(gdstk.FlexPath([(-0.455,1.015),(-0.655,1.015)], 0, ends="flush", simple_path=True, layer=923, datatype=0))  # L923_0
dti_55g_10t_ffnqqnbcka01.add(gdstk.FlexPath([(-1.655,0.33),(-1.855,0.33)], 0, ends="flush", simple_path=True, layer=923, datatype=0))  # L923_0
dti_55g_10t_ffnqqnbcka01.add(gdstk.FlexPath([(-1.255,0.33),(-1.455,0.33)], 0, ends="flush", simple_path=True, layer=923, datatype=0))  # L923_0
dti_55g_10t_ffnqqnbcka01.add(gdstk.FlexPath([(-0.255,0.33),(-0.455,0.33)], 0, ends="flush", simple_path=True, layer=923, datatype=0))  # L923_0
dti_55g_10t_ffnqqnbcka01.add(gdstk.FlexPath([(-0.255,0.855),(-0.455,0.855)], 0, ends="flush", simple_path=True, layer=923, datatype=0))  # L923_0
dti_55g_10t_ffnqqnbcka01.add(gdstk.FlexPath([(-0.255,1.015),(-0.455,1.015)], 0, ends="flush", simple_path=True, layer=923, datatype=0))  # L923_0
dti_55g_10t_ffnqqnbcka01.add(gdstk.FlexPath([(-1.255,0.855),(-1.455,0.855)], 0, ends="flush", simple_path=True, layer=923, datatype=0))  # L923_0
dti_55g_10t_ffnqqnbcka01.add(gdstk.FlexPath([(-1.255,1.015),(-1.455,1.015)], 0, ends="flush", simple_path=True, layer=923, datatype=0))  # L923_0
dti_55g_10t_ffnqqnbcka01.add(gdstk.FlexPath([(-0.055,0.33),(-0.255,0.33)], 0, ends="flush", simple_path=True, layer=923, datatype=0))  # L923_0
dti_55g_10t_ffnqqnbcka01.add(gdstk.FlexPath([(-0.055,0.855),(-0.255,0.855)], 0, ends="flush", simple_path=True, layer=923, datatype=0))  # L923_0
dti_55g_10t_ffnqqnbcka01.add(gdstk.FlexPath([(-0.055,1.015),(-0.255,1.015)], 0, ends="flush", simple_path=True, layer=923, datatype=0))  # L923_0
dti_55g_10t_ffnqqnbcka01.add(gdstk.FlexPath([(-1.655,0.855),(-1.855,0.855)], 0, ends="flush", simple_path=True, layer=923, datatype=0))  # L923_0
dti_55g_10t_ffnqqnbcka01.add(gdstk.FlexPath([(-1.655,1.015),(-1.855,1.015)], 0, ends="flush", simple_path=True, layer=923, datatype=0))  # L923_0
dti_55g_10t_ffnqqnbcka01.add(gdstk.FlexPath([(0.145,0.33),(-0.055,0.33)], 0, ends="flush", simple_path=True, layer=923, datatype=0))  # L923_0
dti_55g_10t_ffnqqnbcka01.add(gdstk.FlexPath([(0.145,0.855),(-0.055,0.855)], 0, ends="flush", simple_path=True, layer=923, datatype=0))  # L923_0
dti_55g_10t_ffnqqnbcka01.add(gdstk.FlexPath([(0.145,1.015),(-0.055,1.015)], 0, ends="flush", simple_path=True, layer=923, datatype=0))  # L923_0
dti_55g_10t_ffnqqnbcka01.add(gdstk.FlexPath([(-1.055,0.33),(-1.255,0.33)], 0, ends="flush", simple_path=True, layer=923, datatype=0))  # L923_0
dti_55g_10t_ffnqqnbcka01.add(gdstk.FlexPath([(-1.055,0.855),(-1.255,0.855)], 0, ends="flush", simple_path=True, layer=923, datatype=0))  # L923_0
dti_55g_10t_ffnqqnbcka01.add(gdstk.FlexPath([(0.345,0.33),(0.145,0.33)], 0, ends="flush", simple_path=True, layer=923, datatype=0))  # L923_0
dti_55g_10t_ffnqqnbcka01.add(gdstk.FlexPath([(0.345,0.855),(0.145,0.855)], 0, ends="flush", simple_path=True, layer=923, datatype=0))  # L923_0
dti_55g_10t_ffnqqnbcka01.add(gdstk.FlexPath([(0.345,1.015),(0.145,1.015)], 0, ends="flush", simple_path=True, layer=923, datatype=0))  # L923_0
dti_55g_10t_ffnqqnbcka01.add(gdstk.FlexPath([(-1.055,1.015),(-1.255,1.015)], 0, ends="flush", simple_path=True, layer=923, datatype=0))  # L923_0
dti_55g_10t_ffnqqnbcka01.add(gdstk.FlexPath([(-1.855,1.015),(-2.055,1.015)], 0, ends="flush", simple_path=True, layer=923, datatype=0))  # L923_0
dti_55g_10t_ffnqqnbcka01.add(gdstk.FlexPath([(2.345,0.33),(2.145,0.33)], 0, ends="flush", simple_path=True, layer=923, datatype=0))  # L923_0
dti_55g_10t_ffnqqnbcka01.add(gdstk.FlexPath([(2.345,0.855),(2.145,0.855)], 0, ends="flush", simple_path=True, layer=923, datatype=0))  # L923_0
dti_55g_10t_ffnqqnbcka01.add(gdstk.FlexPath([(2.345,1.015),(2.145,1.015)], 0, ends="flush", simple_path=True, layer=923, datatype=0))  # L923_0
dti_55g_10t_ffnqqnbcka01.add(gdstk.FlexPath([(1.545,1.015),(1.345,1.015)], 0, ends="flush", simple_path=True, layer=923, datatype=0))  # L923_0
dti_55g_10t_ffnqqnbcka01.add(gdstk.FlexPath([(1.145,0.855),(0.945,0.855)], 0, ends="flush", simple_path=True, layer=923, datatype=0))  # L923_0
dti_55g_10t_ffnqqnbcka01.add(gdstk.FlexPath([(2.545,0.33),(2.345,0.33)], 0, ends="flush", simple_path=True, layer=923, datatype=0))  # L923_0
dti_55g_10t_ffnqqnbcka01.add(gdstk.FlexPath([(2.545,0.855),(2.345,0.855)], 0, ends="flush", simple_path=True, layer=923, datatype=0))  # L923_0
dti_55g_10t_ffnqqnbcka01.add(gdstk.FlexPath([(2.545,1.015),(2.345,1.015)], 0, ends="flush", simple_path=True, layer=923, datatype=0))  # L923_0
dti_55g_10t_ffnqqnbcka01.add(gdstk.FlexPath([(1.345,0.33),(1.145,0.33)], 0, ends="flush", simple_path=True, layer=923, datatype=0))  # L923_0
dti_55g_10t_ffnqqnbcka01.add(gdstk.FlexPath([(1.745,0.33),(1.545,0.33)], 0, ends="flush", simple_path=True, layer=923, datatype=0))  # L923_0
dti_55g_10t_ffnqqnbcka01.add(gdstk.FlexPath([(2.745,0.33),(2.545,0.33)], 0, ends="flush", simple_path=True, layer=923, datatype=0))  # L923_0
dti_55g_10t_ffnqqnbcka01.add(gdstk.FlexPath([(2.745,0.855),(2.545,0.855)], 0, ends="flush", simple_path=True, layer=923, datatype=0))  # L923_0
dti_55g_10t_ffnqqnbcka01.add(gdstk.FlexPath([(2.745,1.015),(2.545,1.015)], 0, ends="flush", simple_path=True, layer=923, datatype=0))  # L923_0
dti_55g_10t_ffnqqnbcka01.add(gdstk.FlexPath([(1.745,0.855),(1.545,0.855)], 0, ends="flush", simple_path=True, layer=923, datatype=0))  # L923_0
dti_55g_10t_ffnqqnbcka01.add(gdstk.FlexPath([(1.745,1.015),(1.545,1.015)], 0, ends="flush", simple_path=True, layer=923, datatype=0))  # L923_0
dti_55g_10t_ffnqqnbcka01.add(gdstk.FlexPath([(2.945,0.33),(2.745,0.33)], 0, ends="flush", simple_path=True, layer=923, datatype=0))  # L923_0
dti_55g_10t_ffnqqnbcka01.add(gdstk.FlexPath([(2.945,0.855),(2.745,0.855)], 0, ends="flush", simple_path=True, layer=923, datatype=0))  # L923_0
dti_55g_10t_ffnqqnbcka01.add(gdstk.FlexPath([(2.945,1.015),(2.745,1.015)], 0, ends="flush", simple_path=True, layer=923, datatype=0))  # L923_0
dti_55g_10t_ffnqqnbcka01.add(gdstk.FlexPath([(1.345,0.855),(1.145,0.855)], 0, ends="flush", simple_path=True, layer=923, datatype=0))  # L923_0
dti_55g_10t_ffnqqnbcka01.add(gdstk.FlexPath([(1.345,1.015),(1.145,1.015)], 0, ends="flush", simple_path=True, layer=923, datatype=0))  # L923_0
dti_55g_10t_ffnqqnbcka01.add(gdstk.FlexPath([(3.145,0.33),(2.945,0.33)], 0, ends="flush", simple_path=True, layer=923, datatype=0))  # L923_0
dti_55g_10t_ffnqqnbcka01.add(gdstk.FlexPath([(3.145,0.855),(2.945,0.855)], 0, ends="flush", simple_path=True, layer=923, datatype=0))  # L923_0
dti_55g_10t_ffnqqnbcka01.add(gdstk.FlexPath([(3.145,1.015),(2.945,1.015)], 0, ends="flush", simple_path=True, layer=923, datatype=0))  # L923_0
dti_55g_10t_ffnqqnbcka01.add(gdstk.FlexPath([(1.945,0.33),(1.745,0.33)], 0, ends="flush", simple_path=True, layer=923, datatype=0))  # L923_0
dti_55g_10t_ffnqqnbcka01.add(gdstk.FlexPath([(1.945,0.855),(1.745,0.855)], 0, ends="flush", simple_path=True, layer=923, datatype=0))  # L923_0
dti_55g_10t_ffnqqnbcka01.add(gdstk.FlexPath([(3.345,0.33),(3.145,0.33)], 0, ends="flush", simple_path=True, layer=923, datatype=0))  # L923_0
dti_55g_10t_ffnqqnbcka01.add(gdstk.FlexPath([(3.345,0.855),(3.145,0.855)], 0, ends="flush", simple_path=True, layer=923, datatype=0))  # L923_0
dti_55g_10t_ffnqqnbcka01.add(gdstk.FlexPath([(3.345,1.015),(3.145,1.015)], 0, ends="flush", simple_path=True, layer=923, datatype=0))  # L923_0
dti_55g_10t_ffnqqnbcka01.add(gdstk.FlexPath([(1.945,1.015),(1.745,1.015)], 0, ends="flush", simple_path=True, layer=923, datatype=0))  # L923_0
dti_55g_10t_ffnqqnbcka01.add(gdstk.FlexPath([(1.145,1.015),(0.945,1.015)], 0, ends="flush", simple_path=True, layer=923, datatype=0))  # L923_0
dti_55g_10t_ffnqqnbcka01.add(gdstk.FlexPath([(3.545,0.33),(3.345,0.33)], 0, ends="flush", simple_path=True, layer=923, datatype=0))  # L923_0
dti_55g_10t_ffnqqnbcka01.add(gdstk.FlexPath([(3.545,0.855),(3.345,0.855)], 0, ends="flush", simple_path=True, layer=923, datatype=0))  # L923_0
dti_55g_10t_ffnqqnbcka01.add(gdstk.FlexPath([(3.545,1.015),(3.345,1.015)], 0, ends="flush", simple_path=True, layer=923, datatype=0))  # L923_0
dti_55g_10t_ffnqqnbcka01.add(gdstk.FlexPath([(1.145,0.33),(0.945,0.33)], 0, ends="flush", simple_path=True, layer=923, datatype=0))  # L923_0
dti_55g_10t_ffnqqnbcka01.add(gdstk.FlexPath([(2.145,0.33),(1.945,0.33)], 0, ends="flush", simple_path=True, layer=923, datatype=0))  # L923_0
dti_55g_10t_ffnqqnbcka01.add(gdstk.FlexPath([(3.745,0.33),(3.545,0.33)], 0, ends="flush", simple_path=True, layer=923, datatype=0))  # L923_0
dti_55g_10t_ffnqqnbcka01.add(gdstk.FlexPath([(3.745,0.855),(3.545,0.855)], 0, ends="flush", simple_path=True, layer=923, datatype=0))  # L923_0
dti_55g_10t_ffnqqnbcka01.add(gdstk.FlexPath([(3.745,1.015),(3.545,1.015)], 0, ends="flush", simple_path=True, layer=923, datatype=0))  # L923_0
dti_55g_10t_ffnqqnbcka01.add(gdstk.FlexPath([(2.145,0.855),(1.945,0.855)], 0, ends="flush", simple_path=True, layer=923, datatype=0))  # L923_0
dti_55g_10t_ffnqqnbcka01.add(gdstk.FlexPath([(2.145,1.015),(1.945,1.015)], 0, ends="flush", simple_path=True, layer=923, datatype=0))  # L923_0
dti_55g_10t_ffnqqnbcka01.add(gdstk.FlexPath([(3.945,0.33),(3.745,0.33)], 0, ends="flush", simple_path=True, layer=923, datatype=0))  # L923_0
dti_55g_10t_ffnqqnbcka01.add(gdstk.FlexPath([(3.945,0.855),(3.745,0.855)], 0, ends="flush", simple_path=True, layer=923, datatype=0))  # L923_0
dti_55g_10t_ffnqqnbcka01.add(gdstk.FlexPath([(3.945,1.015),(3.745,1.015)], 0, ends="flush", simple_path=True, layer=923, datatype=0))  # L923_0
dti_55g_10t_ffnqqnbcka01.add(gdstk.FlexPath([(1.545,0.33),(1.345,0.33)], 0, ends="flush", simple_path=True, layer=923, datatype=0))  # L923_0
dti_55g_10t_ffnqqnbcka01.add(gdstk.FlexPath([(1.545,0.855),(1.345,0.855)], 0, ends="flush", simple_path=True, layer=923, datatype=0))  # L923_0
dti_55g_10t_ffnqqnbcka01.add(gdstk.Reference(cnt, (-1.87,1.195), rotation=pi/2))
dti_55g_10t_ffnqqnbcka01.add(gdstk.Reference(cnt, (-1.595,1.02)))
dti_55g_10t_ffnqqnbcka01.add(gdstk.Reference(cnt, (-1.105,1.185), rotation=pi/2))
dti_55g_10t_ffnqqnbcka01.add(gdstk.Reference(cnt, (-0.67,1.815), rotation=pi/2))
dti_55g_10t_ffnqqnbcka01.add(gdstk.Reference(cnt, (-0.065,1.62)))
dti_55g_10t_ffnqqnbcka01.add(gdstk.Reference(cnt, (-0.53,1.335)))
dti_55g_10t_ffnqqnbcka01.add(gdstk.Reference(cnt, (0.16,1.035)))
dti_55g_10t_ffnqqnbcka01.add(gdstk.Reference(cnt, (0.365,0.425)))
dti_55g_10t_ffnqqnbcka01.add(gdstk.Reference(cnt, (0.6,1.045)))
dti_55g_10t_ffnqqnbcka01.add(gdstk.Reference(cnt, (0.83,1.045)))
dti_55g_10t_ffnqqnbcka01.add(gdstk.Reference(cnt, (1.36,1.62)))
dti_55g_10t_ffnqqnbcka01.add(gdstk.Reference(cnt, (1.665,1.62), rotation=pi/2))
dti_55g_10t_ffnqqnbcka01.add(gdstk.Reference(cnt, (1.59,1.015)))
dti_55g_10t_ffnqqnbcka01.add(gdstk.Reference(cnt, (1.845,0.63)))
dti_55g_10t_ffnqqnbcka01.add(gdstk.Reference(cnt, (1.845,1.025)))
dti_55g_10t_ffnqqnbcka01.add(gdstk.Reference(cnt, (2.37,1.025)))
dti_55g_10t_ffnqqnbcka01.add(gdstk.Reference(cnt, (3.015,1.06), rotation=pi/2))
dti_55g_10t_ffnqqnbcka01.add(gdstk.Reference(cnt, (3.625,1.025)))
dti_55g_10t_ffnqqnbcka01.add(gdstk.Reference(cnt, (2.13,0.58)))
r = gdstk.Reference(cellgrid_nom2, (-2.055,0.12)); r.repetition = gdstk.Repetition(30, 10, v1=(0.2,0), v2=(0,0.2)); dti_55g_10t_ffnqqnbcka01.add(r)
dti_55g_10t_ffnqqnbcka01.add(gdstk.Reference(pcnt_v, (1.19,1.025), rotation=3*pi/2))
dti_55g_10t_ffnqqnbcka01.add(gdstk.Label('VDD', (-1.935,2.075), layer=131, texttype=0))
dti_55g_10t_ffnqqnbcka01.add(gdstk.Label('VSS', (-1.965,0.045), layer=131, texttype=0))
dti_55g_10t_ffnqqnbcka01.add(gdstk.Label('D', (-1.64,0.98), layer=131, texttype=0))
dti_55g_10t_ffnqqnbcka01.add(gdstk.Label('RN', (0.125,0.98), layer=131, texttype=0))
dti_55g_10t_ffnqqnbcka01.add(gdstk.Label('CKN', (2.115,0.975), layer=131, texttype=0))
dti_55g_10t_ffnqqnbcka01.add(gdstk.Label('QN', (2.68,0.885), layer=131, texttype=0))
dti_55g_10t_ffnqqnbcka01.add(gdstk.Label('Q', (3.79,0.955), layer=131, texttype=0))

lib.write_gds('dti_55g_10t_ffnqqnbcka01x1.gds')
